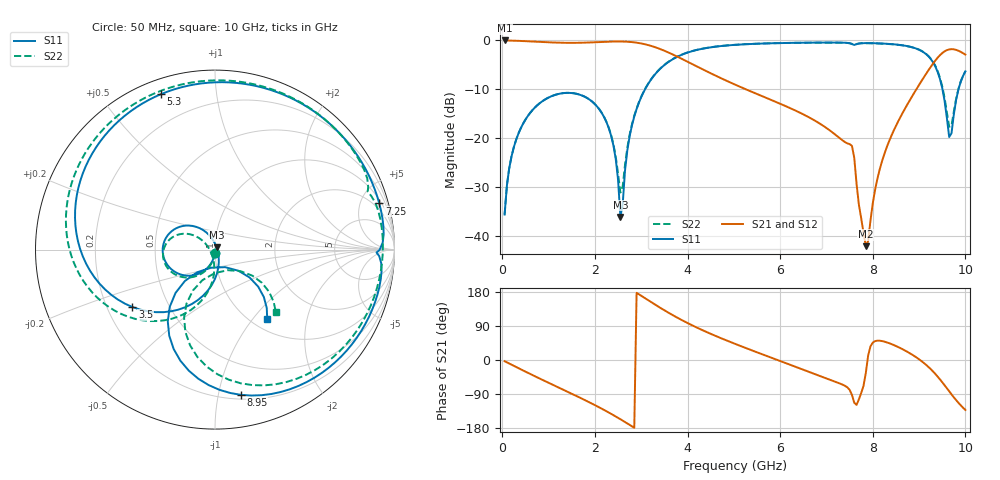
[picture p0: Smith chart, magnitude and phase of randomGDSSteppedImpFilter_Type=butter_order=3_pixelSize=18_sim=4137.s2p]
! freq	dB(S11)	phase(S11)	dB(S12)	phase(S12)
!  dB(S21)	phase(S21)	dB(S22)	phase(S22)
!S-par simulation data
#  GHz  S  DB  R 50
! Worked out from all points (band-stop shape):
!   200 points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, 50 MHz to 10 GHz, reference 50 ohm
!   highest |S21| = -0.01 dB at 50 MHz (marker M1); lowest = -42.0 dB at 7.85 GHz (marker M2)
!   |S21| within 3 dB of the highest: start of sweep to 3.713 GHz; 9.452 GHz to end of sweep
!   lowest |S11| = -36.0 dB at 2.55 GHz (marker M3), VSWR 1.03, Z = 50.9 + j1.34 ohm
!   |S11| at or under -10 dB: start of sweep to 3.082 GHz; 9.505 GHz to 9.85 GHz (344.3 MHz wide, 3.56 % of centre)
!   |S22| runs from -35.5 to -0.5 dB; largest |S21 - S12| = 0
!   S11 on the Smith chart (normalised r, x): 50 MHz: 1.00, -0.03; 3.5 GHz: 0.31, -0.29; 5.3 GHz: 0.07, +0.71; 7.25 GHz: 1.31, +7.01; 8.95 GHz: 0.23, -1.17; 10 GHz: 1.18, -1.18
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0.05  -35.54 -93.0  -0.01 -3.1  -0.01 -3.1  -35.54 -92.8
0.2  -23.64 -103.1  -0.04 -12.4  -0.04 -12.4  -23.63 -102.0
0.55  -15.45 -125.6  -0.17 -33.7  -0.17 -33.7  -15.44 -122.7
1.75  -11.36 160.6  -0.46 -103.8  -0.46 -103.8  -11.35 171.6
2.35  -19.46 116.6  -0.24 -142.1  -0.24 -142.1  -19.33 144.0
2.45  -24.21 104.5  -0.22 -149.0  -0.22 -149.0  -23.75 147.3
2.55  -36.01 56.5  -0.22 -156.2  -0.22 -156.2  -31.05 -171.6
2.85  -15.53 -90.7  -0.39 -178.9  -0.39 -178.9  -15.37 -94.2
3.4  -5.87 -137.5  -1.72 138.5  -1.72 138.5  -5.83 -128.8
3.5  -5.02 -145.2  -2.10 131.2  -2.10 131.2  -4.99 -135.6
4.2  -1.94 167.3  -5.30 85.6  -5.30 85.6  -1.92 -177.7
5.05  -0.89 121.4  -9.12 41.5  -9.12 41.5  -0.87 141.3
5.3  -0.75 109.1  -10.14 29.6  -10.14 29.6  -0.74 130.1
6.7  -0.45 42.5  -16.10 -34.9  -16.10 -34.9  -0.46 66.8
7.25  -0.44 15.7  -19.68 -60.1  -19.68 -60.1  -0.46 39.0
7.55  -0.75 -0.1  -21.52 -91.8  -21.52 -91.8  -0.70 22.3
7.85  -0.55 -12.9  -42.00 -34.0  -42.00 -34.0  -0.57 7.5
8.35  -0.71 -40.3  -20.64 44.5  -20.64 44.5  -0.73 -22.8
8.95  -1.70 -79.9  -9.84 6.2  -9.84 6.2  -1.69 -65.8
9.4  -6.40 -123.3  -3.54 -43.5  -3.54 -43.5  -6.23 -109.8
9.65  -19.72 -102.8  -1.83 -82.7  -1.83 -82.7  -17.63 -91.1
10  -6.32 -53.0  -2.89 -131.9  -2.89 -131.9  -6.28 -45.7
